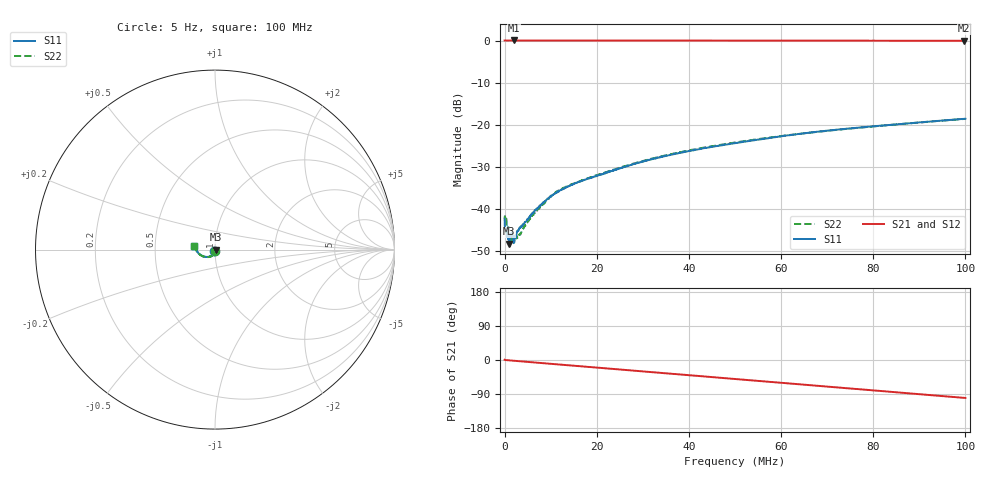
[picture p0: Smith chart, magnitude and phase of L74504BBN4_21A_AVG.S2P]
!Agilent Technologies,E5061B,MY49102235,A.02.00
!Date: Tue Jul 11 16:43:24 2023
!Data & Calibration Information:
!Freq	S11:SOLT2(ON)	S21:SOLT2(ON)	S12:SOLT2(ON)	S22:SOLT2(ON)
# Hz S RI R 50
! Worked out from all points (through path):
!   1600 points, 5 Hz to 100 MHz, reference 50 ohm
!   highest |S21| = 0.02 dB at 1.939 MHz (marker M1); lowest = -0.1 dB at 99.75 MHz (marker M2)
!   group delay of S21, straight-line fit = 2.78 ns
!   lowest |S11| = -48.2 dB at 1.001 MHz (marker M3), VSWR 1.01, Z = 50.4 - j0.0796 ohm
!   |S11| at or under -10 dB: start of sweep to end of sweep
!   |S22| runs from -48.9 to -18.6 dB; largest |S21 - S12| = 0.0028
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5  -0.00518 -0.00564  1.002 0.0079  1 0.0103  -0.00153 -0.00754
437778.6  0.00515 -0.000593  1.001 -0.00546  1.001 -0.00596  0.00662 -0.00223
625395.8  0.00508 -0.000644  1.002 -0.0105  1.002 -0.00996  0.0061 -0.00101
1000630  0.00379 -0.00079  1.001 -0.0164  1.001 -0.0159  0.00516 -0.00171
1563482  0.00436 -0.00292  1.001 -0.0264  1.001 -0.0252  0.00316 -0.0035
1938717  0.00313 -0.00236  1.002 -0.0337  1.001 -0.033  0.00345 -0.00211
2376490  0.00331 -0.00302  0.9999 -0.0413  1 -0.0416  0.00397 -0.00271
3252037  0.00424 -0.00425  0.9995 -0.0568  0.9992 -0.0564  0.00317 -0.00375
4690436  0.00374 -0.00604  0.9978 -0.0819  0.9974 -0.0817  0.00346 -0.00572
6003757  0.00332 -0.00798  0.9955 -0.1048  0.9954 -0.1044  0.00291 -0.00782
9505946  0.00142 -0.0132  0.9872 -0.1658  0.9872 -0.1653  0.000896 -0.0133
1.163227e7  -0.000132 -0.0162  0.9804 -0.2023  0.9801 -0.2017  -0.000966 -0.0163
1.669794e7  -0.004 -0.0211  0.958 -0.2882  0.9579 -0.2877  -0.00431 -0.0213
2.582865e7  -0.0114 -0.0291  0.9002 -0.4369  0.8999 -0.4365  -0.00931 -0.0305
3.333334e7  -0.0204 -0.0352  0.8347 -0.5508  0.8346 -0.5503  -0.0191 -0.0365
4.040025e7  -0.0301 -0.0388  0.76 -0.6491  0.7602 -0.6489  -0.0295 -0.0403
5.003127e7  -0.0446 -0.0407  0.6401 -0.7672  0.6401 -0.7668  -0.0448 -0.042
6.672921e7  -0.0739 -0.0342  0.3913 -0.9176  0.3917 -0.9174  -0.0732 -0.0346
7.53596e7  -0.0875 -0.0245  0.2489 -0.965  0.2491 -0.9648  -0.0869 -0.0256
8.33646e7  -0.0984 -0.012  0.1119 -0.9897  0.112 -0.9895  -0.098 -0.014
9.974984e7  -0.1157 0.0203  -0.1721 -0.9787  -0.1716 -0.9788  -0.1156 0.0172
1e8  -0.1158 0.0208  -0.1763 -0.978  -0.176 -0.978  -0.116 0.0179
